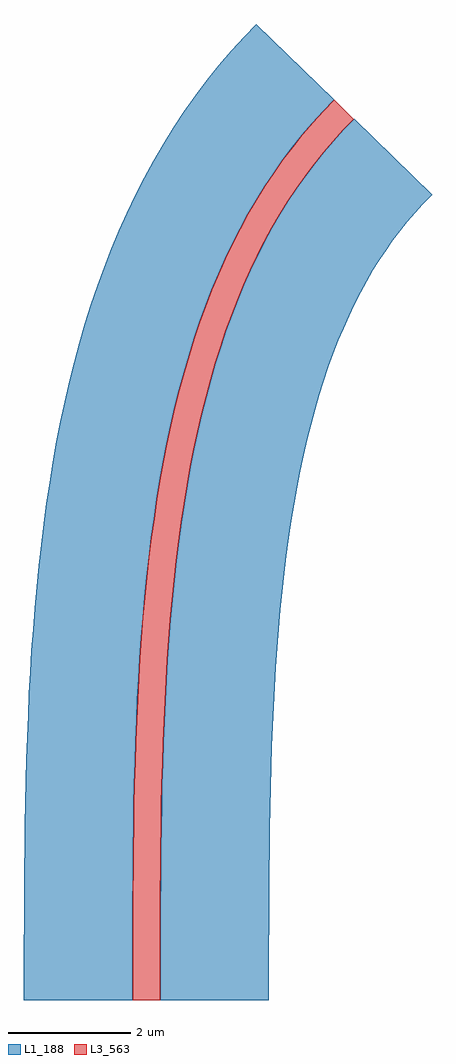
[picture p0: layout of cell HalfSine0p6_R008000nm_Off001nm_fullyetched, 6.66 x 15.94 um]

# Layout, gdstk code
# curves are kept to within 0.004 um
import gdstk
lib = gdstk.Library(unit=1e-6, precision=1e-09)
def P(c, l, *ps):  # polygons
    for p in ps: c.add(gdstk.Polygon(p, *l))
L1_188 = (1, 188)
L3_563 = (3, 563)

halfsine0p6_r008000nm_of = lib.new_cell('HalfSine0p6_R008000nm_Off001nm_fullyetched')
P(halfsine0p6_r008000nm_of, L1_188, [(0.225,-17.773),(0.231,-15.647),(0.246,-14.599),(0.275,-13.565),(0.304,-12.886),(0.343,-12.218),(0.421,-11.236),(0.488,-10.598),(0.527,-10.285),(0.615,-9.669),(0.665,-9.367),(0.775,-8.775),(0.837,-8.486),(0.973,-7.921),(1.048,-7.645),(1.126,-7.373),(1.297,-6.846),(1.488,-6.339),(1.59,-6.094),(1.81,-5.618),(2.05,-5.163),(2.178,-4.944),(2.31,-4.731),(2.592,-4.32),(2.894,-3.931),(3.218,-3.563),(3.391,-3.385),(4.664,-4.622),(4.513,-4.777),(4.26,-5.064),(4.026,-5.366),(3.913,-5.525),(3.699,-5.859),(3.597,-6.034),(3.402,-6.404),(3.31,-6.596),(3.135,-7.002),(2.973,-7.431),(2.898,-7.656),(2.826,-7.887),(2.69,-8.369),(2.628,-8.616),(2.515,-9.129),(2.414,-9.667),(2.287,-10.515),(2.188,-11.402),(2.114,-12.335),(2.062,-13.3),(2.028,-14.298),(2.006,-15.662),(2,-17.773)],
  [(-2,-17.773),(-1.994,-15.628),(-1.979,-14.554),(-1.949,-13.484),(-1.919,-12.775),(-1.878,-12.071),(-1.825,-11.375),(-1.76,-10.682),(-1.679,-9.997),(-1.633,-9.66),(-1.583,-9.325),(-1.469,-8.659),(-1.336,-8.004),(-1.26,-7.68),(-1.18,-7.359),(-1.004,-6.729),(-0.803,-6.113),(-0.693,-5.808),(-0.577,-5.508),(-0.451,-5.208),(-0.186,-4.632),(-0.039,-4.348),(0.111,-4.072),(0.271,-3.797),(0.438,-3.528),(0.613,-3.265),(0.794,-3.008),(0.984,-2.756),(1.182,-2.51),(1.384,-2.274),(1.595,-2.041),(1.796,-1.834),(3.069,-3.071),(2.89,-3.255),(2.548,-3.643),(2.228,-4.054),(2.077,-4.268),(1.792,-4.712),(1.658,-4.943),(1.406,-5.418),(1.178,-5.914),(1.07,-6.171),(0.873,-6.698),(0.782,-6.969),(0.614,-7.523),(0.537,-7.807),(0.397,-8.388),(0.276,-8.986),(0.221,-9.291),(0.124,-9.911),(0.081,-10.227),(0.005,-10.868),(-0.027,-11.194),(-0.107,-12.188),(-0.146,-12.864),(-0.175,-13.549),(-0.204,-14.589),(-0.219,-15.643),(-0.225,-17.773)])
halfsine0p6_r008000nm_of.add(gdstk.FlexPath([(0,-17.773),(0,-17.772),(0,-17.416),(0,-17.061),(0.001,-16.706),(0.002,-16.352),(0.004,-15.998),(0.006,-15.645),(0.01,-15.294),(0.015,-14.943),(0.021,-14.594),(0.029,-14.246),(0.039,-13.9),(0.05,-13.557),(0.064,-13.215),(0.079,-12.875),(0.098,-12.538),(0.118,-12.203),(0.142,-11.871),(0.168,-11.542),(0.197,-11.215),(0.229,-10.892),(0.265,-10.572),(0.304,-10.256),(0.347,-9.943),(0.393,-9.634),(0.443,-9.329),(0.497,-9.027),(0.555,-8.73),(0.617,-8.437),(0.684,-8.148),(0.755,-7.864),(0.831,-7.584),(0.911,-7.308),(0.996,-7.038),(1.085,-6.772),(1.18,-6.511),(1.279,-6.255),(1.384,-6.004),(1.494,-5.759),(1.608,-5.518),(1.729,-5.283),(1.854,-5.053),(1.985,-4.828),(2.121,-4.609),(2.263,-4.395),(2.41,-4.187),(2.563,-3.984),(2.721,-3.787),(2.885,-3.596),(3.054,-3.409),(3.229,-3.229),(3.23,-3.228)], 0.45, ends="flush", simple_path=True, layer=3, datatype=563))  # L3_563

lib.write_gds('HalfSine0p6_R008000nm_Off001nm_fullyetched.gds')
